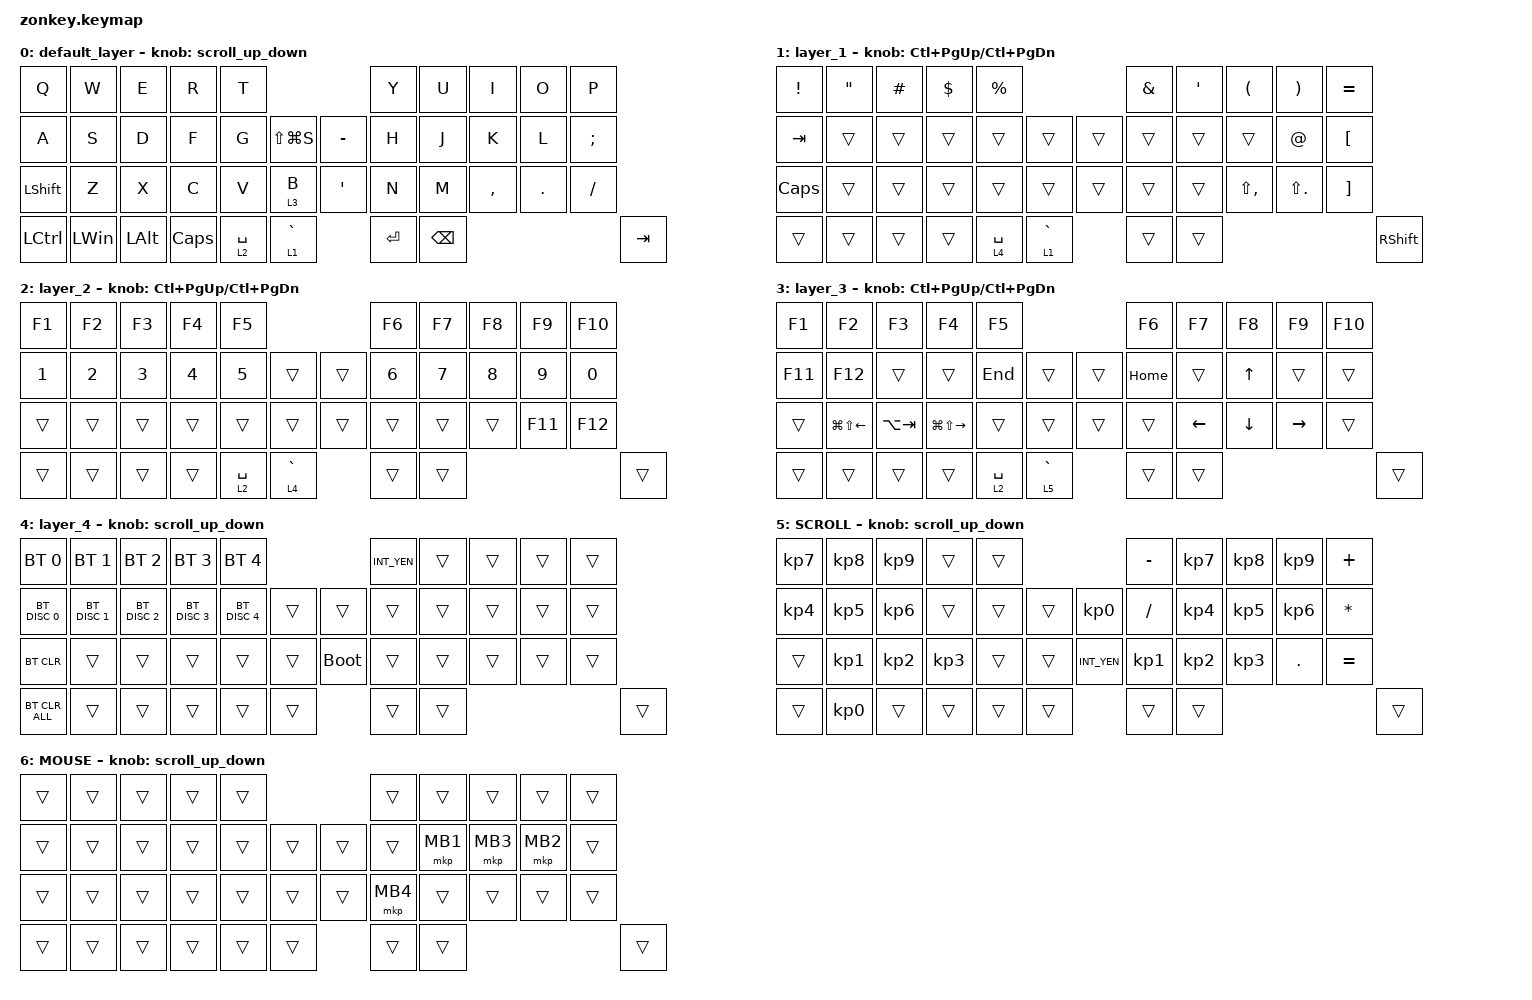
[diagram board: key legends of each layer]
#include <physical_layouts.dtsi>
#include <behaviors.dtsi>
#include <dt-bindings/zmk/bt.h>
#include <dt-bindings/zmk/keys.h>
#include <dt-bindings/zmk/pointing.h>

#define ZMK_POINTING_DEFAULT_SCRL_VAL 100
#define DFb 0
#define JIS 1
#define BT 4
#define SCROLL 5
#define MOUSE 6
#define JP_DQUOTE       AT                // "
#define JP_AMPERSAND    CARET             // &
#define JP_QUOTE        AMPERSAND         // '
#define JP_EQUAL        UNDER             // =
#define JP_CARET        EQUAL             // ^
#define JP_YEN          0x89              // ¥
#define JP_PLUS         COLON             // +
#define JP_TILDE        PLUS              // ~
#define JP_PIPE         LS(0x89)          // |
#define JP_AT           LEFT_BRACKET      // @
#define JP_COLON        SINGLE_QUOTE      // :
#define JP_ASTERISK     DOUBLE_QUOTES     // *
#define JP_BACKQUOTE    LEFT_BRACE        // `
#define JP_UNDERSCORE   LS(0x87)          // _
#define JP_LBRACKET     RIGHT_BRACKET     // [
#define JP_RBRACKET     BACKSLASH         // ]
#define JP_LPAREN       ASTERISK          // (
#define JP_RPAREN       LEFT_PARENTHESIS  // )
#define JP_LBRACE       RIGHT_BRACE       // {
#define JP_RBRACE       PIPE              // }
#define JP_KANA         LANGUAGE_1        // かな
#define JP_EISU         LANGUAGE_2        // 英数
#define JP_HANZEN       GRAVE             // 半角/全角
#define JP_BSLH  INT1         // (backslash)

&mt {
    flavor = "balanced";
    quick-tap-ms = <0>;
};

/ {
    combos {
        compatible = "zmk,combos";

        esc {
            bindings = <&kp ESC>;
            key-positions = <0 1>;
        };

        del {
            bindings = <&kp DEL>;
            key-positions = <8 9>;
        };

        layer_5 {
            bindings = <&tog 5>;
            key-positions = <39 27>;
        };

        layer_6 {
            bindings = <&tog 6>;
            key-positions = <38 27>;
        };
    };

    macros {
        to_layer_0: to_layer_0 {
            compatible = "zmk,behavior-macro-one-param";
            #binding-cells = <1>;
            bindings = <&to 0 &macro_param_1to1 &kp MACRO_PLACEHOLDER>;
            label = "TO_LAYER_0";
        };
    };

    behaviors {
        lt_to_layer_0: lt_to_layer_0 {
            compatible = "zmk,behavior-hold-tap";
            label = "LAYER_TAP_TO_0";
            bindings = <&mo>, <&to_layer_0>;

            #binding-cells = <2>;
            tapping-term-ms = <200>;
        };

        mo2: mo2 {
            compatible = "zmk,behavior-mod-morph";
            #binding-cells = <0>;
            bindings = <&kp N2>, <&kp AT>;

            mods = <(MOD_LSFT|MOD_RSFT)>;
        };

        mo6: mo6 {
            compatible = "zmk,behavior-mod-morph";
            #binding-cells = <0>;
            bindings = <&kp N6>, <&kp CARET>;

            mods = <(MOD_LSFT|MOD_RSFT)>;
        };

        mo7: mo7 {
            compatible = "zmk,behavior-mod-morph";
            #binding-cells = <0>;
            bindings = <&kp N7>, <&kp AMPS>;

            mods = <(MOD_LSFT|MOD_RSFT)>;
        };

        mo8: mo8 {
            compatible = "zmk,behavior-mod-morph";
            #binding-cells = <0>;
            bindings = <&kp N8>, <&kp ASTRK>;

            mods = <(MOD_LSFT|MOD_RSFT)>;
        };

        mo9: mo9 {
            compatible = "zmk,behavior-mod-morph";
            #binding-cells = <0>;
            bindings = <&kp N9>, <&kp LPAR>;

            mods = <(MOD_LSFT|MOD_RSFT)>;
        };

        mo0: mo0 {
            compatible = "zmk,behavior-mod-morph";
            #binding-cells = <0>;
            bindings = <&kp N0>, <&kp LS(N9)>;

            mods = <(MOD_LSFT|MOD_RSFT)>;
        };

        moA: moA {
            compatible = "zmk,behavior-mod-morph";
            #binding-cells = <0>;
            bindings = <&kp MINUS>, <&kp UNDERSCORE>;

            mods = <(MOD_LSFT|MOD_RSFT)>;
        };

        moB: moB {
            compatible = "zmk,behavior-mod-morph";
            #binding-cells = <0>;
            bindings = <&kp EQUAL>, <&kp PLUS>;

            mods = <(MOD_LSFT|MOD_RSFT)>;
        };

        moC: moC {
            compatible = "zmk,behavior-mod-morph";
            #binding-cells = <0>;
            bindings = <&kp INT3>, <&kp JP_PIPE>;

            mods = <(MOD_LSFT|MOD_RSFT)>;
        };

        moD: moD {
            compatible = "zmk,behavior-mod-morph";
            #binding-cells = <0>;
            bindings = <&kp LBKT>, <&kp LBRC>;

            mods = <(MOD_LSFT|MOD_RSFT)>;
        };

        moE: moE {
            compatible = "zmk,behavior-mod-morph";
            #binding-cells = <0>;
            bindings = <&kp RBKT>, <&kp RBRC>;

            mods = <(MOD_LSFT|MOD_RSFT)>;
        };

        moF: moF {
            compatible = "zmk,behavior-mod-morph";
            #binding-cells = <0>;
            bindings = <&kp SEMI>, <&kp KP_PLUS>;

            mods = <(MOD_LSFT|MOD_RSFT)>;
        };

        moG: moG {
            compatible = "zmk,behavior-mod-morph";
            #binding-cells = <0>;
            bindings = <&kp APOSTROPHE>, <&kp DQT>;

            mods = <(MOD_LSFT|MOD_RSFT)>;
        };

        moH: moH {
            compatible = "zmk,behavior-mod-morph";
            #binding-cells = <0>;
            bindings = <&kp BACKSLASH>, <&kp TILDE2>;

            mods = <(MOD_LSFT|MOD_RSFT)>;
        };

        moI: moI {
            compatible = "zmk,behavior-mod-morph";
            #binding-cells = <0>;
            bindings = <&kp JP_BSLH>, <&kp JP_UNDERSCORE>;

            mods = <(MOD_LSFT|MOD_RSFT)>;
        };

        scroll_up_down: behavior_sensor_rotate_mouse_wheel_up_down {
            compatible = "zmk,behavior-sensor-rotate";
            #sensor-binding-cells = <0>;
            bindings = <&msc SCRL_UP>, <&msc SCRL_DOWN>;

            tap-ms = <20>;
        };
    };

    keymap {
        compatible = "zmk,keymap";

        default_layer {
            bindings = <
&kp Q           &kp W         &kp E         &kp R     &kp T                                    &kp Y      &kp U          &kp I      &kp O    &kp P
&kp A           &kp S         &kp D         &kp F     &kp G        &kp LS(LG(S))    &kp MINUS  &kp H      &kp J          &kp K      &kp L    &kp SEMI
&kp LEFT_SHIFT  &kp Z         &kp X         &kp C     &kp V        &lt 3 B          &kp APOS   &kp N      &kp M          &kp COMMA  &kp DOT  &kp SLASH
&kp LCTRL       &kp LEFT_WIN  &kp LEFT_ALT  &kp CAPS  &lt 2 SPACE  &lt 1 GRAVE                 &kp ENTER  &kp BACKSPACE                                 &kp TAB
            >;

            sensor-bindings = <&scroll_up_down>;
        };

        layer_1 {
            bindings = <
&kp EXCL      &kp DOUBLE_QUOTES  &kp HASH  &kp DLLR  &kp PERCENT                         &kp AMPERSAND  &kp SINGLE_QUOTE  &kp LEFT_PARENTHESIS  &kp RIGHT_PARENTHESIS  &kp EQUAL
&kp TAB       &trans             &trans    &trans    &trans       &trans         &trans  &trans         &trans            &trans                &kp AT                 &kp LEFT_BRACKET
&kp CAPSLOCK  &trans             &trans    &trans    &trans       &trans         &trans  &trans         &trans            &kp LS(COMMA)         &kp LS(DOT)            &kp RIGHT_BRACKET
&trans        &trans             &trans    &trans    &lt 4 SPACE  &lt 1 GRAVE            &trans         &trans                                                                            &kp RSHIFT
            >;

            sensor-bindings = <&inc_dec_kp LC(PAGE_UP) LC(PAGE_DOWN)>;
        };

        layer_2 {
            bindings = <
&kp F1  &kp F2        &kp F3        &kp F4        &kp F5                               &kp F6        &kp F7        &kp F8        &kp F9        &kp F10
&kp N1  &kp NUMBER_2  &kp NUMBER_3  &kp NUMBER_4  &kp NUMBER_5  &trans         &trans  &kp NUMBER_6  &kp NUMBER_7  &kp NUMBER_8  &kp NUMBER_9  &kp NUMBER_0
&trans  &trans        &trans        &trans        &trans        &trans         &trans  &trans        &trans        &trans        &kp F11       &kp F12
&trans  &trans        &trans        &trans        &lt 2 SPACE   &lt 4 GRAVE            &trans        &trans                                                  &trans
            >;

            sensor-bindings = <&inc_dec_kp LC(PAGE_UP) LC(PAGE_DOWN)>;
        };

        layer_3 {
            bindings = <
&kp F1   &kp F2                  &kp F3       &kp F4                   &kp F5                              &kp F6    &kp F7    &kp F8          &kp F9           &kp F10
&kp F11  &kp F12                 &trans       &trans                   &kp END      &trans         &trans  &kp HOME  &trans    &kp UP_ARROW    &trans           &trans
&trans   &kp LG(LS(LEFT_ARROW))  &kp LA(TAB)  &kp LG(LS(RIGHT_ARROW))  &trans       &trans         &trans  &trans    &kp LEFT  &kp DOWN_ARROW  &kp RIGHT_ARROW  &trans
&trans   &trans                  &trans       &trans                   &lt 2 SPACE  &lt 5 GRAVE            &trans    &trans                                              &trans
            >;

            sensor-bindings = <&inc_dec_kp LC(PAGE_UP) LC(PAGE_DOWN)>;
        };

        layer_4 {
            bindings = <
&bt BT_SEL 0    &bt BT_SEL 1   &bt BT_SEL 2   &bt BT_SEL 3   &bt BT_SEL 4                          &kp INT_YEN  &trans  &trans  &trans  &trans
&bt BT_DISC 0   &bt BT_DISC 1  &bt BT_DISC 2  &bt BT_DISC 3  &bt BT_DISC 4  &trans    &trans       &trans       &trans  &trans  &trans  &trans
&bt BT_CLR      &trans         &trans         &trans         &trans         &trans    &bootloader  &trans       &trans  &trans  &trans  &trans
&bt BT_CLR_ALL  &trans         &trans         &trans         &trans         &trans                 &trans       &trans                          &trans
            >;

            sensor-bindings = <&scroll_up_down>;
        };

        SCROLL {
            bindings = <
&kp KP_NUMBER_7  &kp KP_NUMBER_8  &kp KP_NUMBER_9  &trans           &trans                             &kp MINUS        &kp KP_NUMBER_7  &kp KP_NUMBER_8  &kp KP_NUMBER_9  &kp PLUS
&kp KP_NUMBER_4  &kp KP_NUMBER_5  &kp KP_NUMBER_6  &trans           &trans  &trans    &kp KP_NUMBER_0  &kp SLASH        &kp KP_NUMBER_4  &kp KP_NUMBER_5  &kp KP_NUMBER_6  &kp ASTERISK
&trans           &kp KP_NUMBER_1  &kp KP_NUMBER_2  &kp KP_NUMBER_3  &trans  &trans    &kp INT_YEN      &kp KP_NUMBER_1  &kp KP_NUMBER_2  &kp KP_NUMBER_3  &kp PERIOD       &kp EQUAL
&trans           &kp KP_NUMBER_0  &trans           &trans           &trans  &trans                     &trans           &trans                                                           &trans
            >;

            sensor-bindings = <&scroll_up_down>;
        };

        MOUSE {
            bindings = <
&trans  &trans  &trans  &trans  &trans                    &trans    &trans    &trans    &trans    &trans
&trans  &trans  &trans  &trans  &trans  &trans    &trans  &trans    &mkp MB1  &mkp MB3  &mkp MB2  &trans
&trans  &trans  &trans  &trans  &trans  &trans    &trans  &mkp MB4  &trans    &trans    &trans    &trans
&trans  &trans  &trans  &trans  &trans  &trans            &trans    &trans                                &trans
            >;

            sensor-bindings = <&scroll_up_down>;
        };
    };
};
